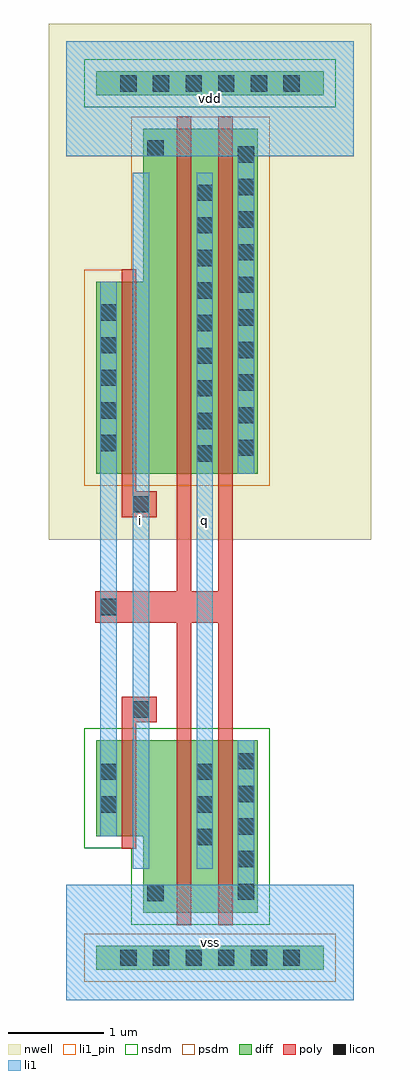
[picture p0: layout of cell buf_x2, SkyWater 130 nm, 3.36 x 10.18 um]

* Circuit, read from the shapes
.subckt buf_x2 i q vdd vss
XM1 vss i n1 VSUBS sky130_fd_pr__nfet_01v8 w=1 l=0.15
XM2 q n1 vss VSUBS sky130_fd_pr__nfet_01v8 w=1.8 l=0.15 m=2
XM3 vdd i n1 n2 sky130_fd_pr__pfet_01v8 w=2 l=0.15
XM4 q n1 vdd n2 sky130_fd_pr__pfet_01v8 w=3.6 l=0.15 m=2
.ends

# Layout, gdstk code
import gdstk
lib = gdstk.Library(unit=1e-6, precision=1e-09)
def R(c, l, rs):  # rectangles x0, y0, x1, y1
    for r in rs: c.add(gdstk.rectangle(r[:2], r[2:], *l))
def A(c, l, x, y, w, h, nx, ny, dx, dy):  # array of equal rectangles
    R(c, l, [(x+i*dx, y+j*dy, x+i*dx+w, y+j*dy+h) for i in range(nx) for j in range(ny)])
def P(c, l, *ps):  # polygons
    for p in ps: c.add(gdstk.Polygon(p, *l))
nwell = (64, 20)
diff = (65, 20)
poly = (66, 20)
licon = (66, 44)
li1_pin = (67, 16)
li1 = (67, 20)
nsdm = (93, 44)
psdm = (94, 20)

buf_x2 = lib.new_cell('buf_x2')
R(buf_x2, nwell, [(-0.18,4.8,3.18,10.18)])
R(buf_x2, diff, [(0.315,0.315,2.685,0.565), (0.315,9.435,2.685,9.685)])
P(buf_x2, diff, [(0.805,0.91),(0.805,1.71),(0.315,1.71),(0.315,2.71),(2,2.71),(2,0.91)],
  [(0.315,5.49),(0.315,7.49),(0.805,7.49),(0.805,9.09),(2,9.09),(2,5.49)])
P(buf_x2, poly, [(0.58,1.58),(0.58,3.165),(0.945,3.165),(0.945,2.895),(0.73,2.895),(0.73,1.58)],
  [(0.58,5.035),(0.58,7.62),(0.73,7.62),(0.73,5.305),(0.945,5.305),(0.945,5.035)],
  [(1.155,0.78),(1.155,3.935),(0.305,3.935),(0.305,4.265),(1.155,4.265),(1.155,9.22),(1.305,9.22),(1.305,4.265),(1.585,4.265),(1.585,9.22),(1.735,9.22),(1.735,0.78),(1.585,0.78),(1.585,3.935),(1.305,3.935),(1.305,0.78)])
A(buf_x2, licon, 0.565, 0.355, 0.17, 0.17, 6, 2, 0.34, 9.12)
A(buf_x2, licon, 1.79, 1.045, 0.17, 0.17, 1, 5, 0, 0.34)
A(buf_x2, licon, 1.36, 1.615, 0.17, 0.17, 1, 3, 0, 0.34)
A(buf_x2, licon, 1.36, 5.615, 0.17, 0.17, 1, 9, 0, 0.34)
A(buf_x2, licon, 1.79, 5.675, 0.17, 0.17, 1, 10, 0, 0.34)
A(buf_x2, licon, 0.355, 5.725, 0.17, 0.17, 1, 5, 0, 0.34)
R(buf_x2, licon, [(0.845,1.03,1.015,1.2), (0.355,1.955,0.525,2.125), (0.355,2.295,0.525,2.465), (0.695,2.945,0.865,3.115), (0.355,4.015,0.525,4.185), (0.695,5.085,0.865,5.255), (0.845,8.8,1.015,8.97)])
R(buf_x2, li1_pin, [(0,0,3,1.2), (0.695,1.37,0.865,8.63), (1.36,1.37,1.53,8.63), (0,8.8,3,10)])
R(buf_x2, li1, [(0.695,1.37,0.865,8.63), (1.36,1.37,1.53,8.63), (0.355,1.71,0.525,7.49)])
P(buf_x2, li1, [(0,0),(0,1.2),(1.79,1.2),(1.79,2.71),(1.96,2.71),(1.96,1.2),(3,1.2),(3,0)],
  [(1.79,5.49),(1.79,8.8),(0,8.8),(0,10),(3,10),(3,8.8),(1.96,8.8),(1.96,5.49)])
R(buf_x2, nsdm, [(0.19,9.31,2.81,9.81)])
P(buf_x2, nsdm, [(0.68,0.785),(0.68,1.585),(0.19,1.585),(0.19,2.835),(2.125,2.835),(2.125,0.785)])
R(buf_x2, psdm, [(0.19,0.19,2.81,0.69)])
P(buf_x2, psdm, [(0.19,5.365),(0.19,7.615),(0.68,7.615),(0.68,9.215),(2.125,9.215),(2.125,5.365)])
buf_x2.add(gdstk.Label('vdd', (1.5,9.4), layer=67, texttype=16))
buf_x2.add(gdstk.Label('vss', (1.5,0.6), layer=67, texttype=16))
buf_x2.add(gdstk.Label('i', (0.78,5), layer=67, texttype=16))
buf_x2.add(gdstk.Label('q', (1.445,5), layer=67, texttype=16))
buf_x2.add(gdstk.Label('vdd', (1.5,9.4), layer=67, texttype=16))
buf_x2.add(gdstk.Label('vss', (1.5,0.6), layer=67, texttype=16))
buf_x2.add(gdstk.Label('i', (0.78,5), layer=67, texttype=16))
buf_x2.add(gdstk.Label('q', (1.445,5), layer=67, texttype=16))

lib.write_gds('buf_x2.gds')
